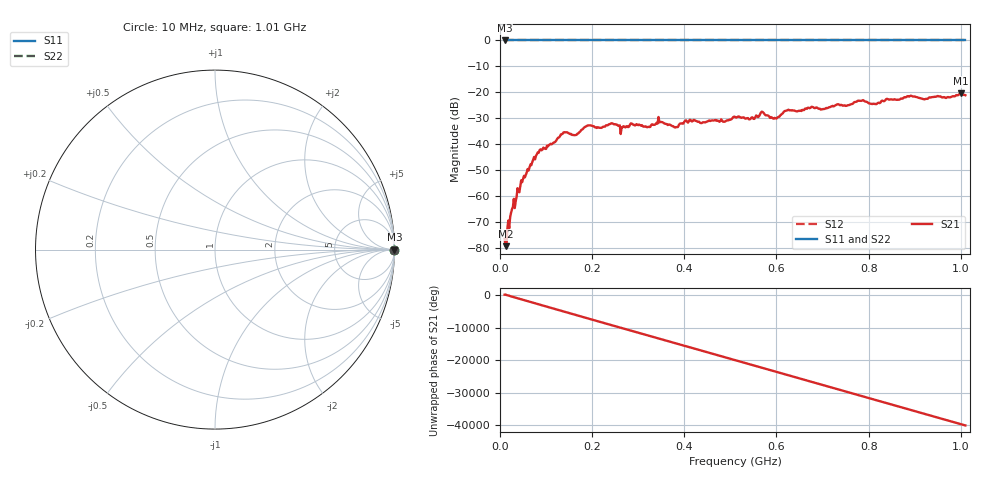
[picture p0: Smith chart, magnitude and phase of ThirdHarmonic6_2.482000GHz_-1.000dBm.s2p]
! 8/17/2025 4:38:27 AM
! C:\ANRITSUVNA\TEMP\TEMP.S2P
! CHANNEL.1
! TR.MEASUREMENT
! RAW.DATA
! RF.CORRECTION.OFF
! AVERAGING.OFF
! IF.BANDWIDTH: 5KHZ
! SWEEPTYPE:  FREQ.SWEEP(Linear)
! Reference Plane Port Info
! PORT:  PORT1  PORT2
! DISTANCE:  0  m  0  m
! TIME:  0  s  0  s
! PHASE.OFFSET:  0  deg.  0  deg.
! LOSS:  0  dB  0  dB
! REF.LOSS:  0  dB  0  dB
! REF.FREQ:  0  Hz  0  Hz
! Power Info
! POWER:  -20  dBm  -20  dBm
! EFF.POWER:  -20  dBm  -20  dBm
! SOURCE.ATTEN:  0  dB  0  dB
! TEST.ATTEN:  0  dB  0  dB
# GHZ S RI R 50.0
! FREQ.GHZ  S11RE  S11IM  S21RE  S21IM  S12RE  S12IM  S22RE  S22IM
!; PortSelection: Port_12
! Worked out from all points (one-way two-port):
!   501 points, 10 MHz to 1.01 GHz, reference 50 ohm
!   highest |S21| = -20.34 dB at 1 GHz (marker M1); lowest = -79.4 dB at 12 MHz (marker M2)
!   lowest |S11| = 0.0 dB at 10 MHz (marker M3)
!   |S11| at or under -10 dB: nowhere
!   |S22| runs from 0.0 to 0.0 dB; largest |S21 - S12| = 1.1
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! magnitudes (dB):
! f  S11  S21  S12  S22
! 10 MHz  0.0  -76.5  0.0  0.0
! 12 MHz  0.0  -79.4  0.0  0.0
! 26 MHz  0.0  -65.2  0.0  0.0
! 42 MHz  0.0  -58.6  0.0  0.0
! 84 MHz  0.0  -43.4  0.0  0.0
! 136 MHz  0.0  -36.0  0.0  0.0
! 162 MHz  0.0  -36.6  0.0  0.0
! 178 MHz  0.0  -34.4  0.0  0.0
! 242 MHz  0.0  -31.9  0.0  0.0
! 322 MHz  0.0  -33.3  0.0  0.0
! 344 MHz  0.0  -29.5  0.0  0.0
! 382 MHz  0.0  -33.4  0.0  0.0
! 404 MHz  0.0  -30.8  0.0  0.0
! 510 MHz  0.0  -29.5  0.0  0.0
! 548 MHz  0.0  -29.7  0.0  0.0
! 570 MHz  0.0  -27.6  0.0  0.0
! 596 MHz  0.0  -29.9  0.0  0.0
! 622 MHz  0.0  -27.0  0.0  0.0
! 678 MHz  0.0  -25.7  0.0  0.0
! 844 MHz  0.0  -22.8  0.0  0.0
! 1 GHz  0.0  -20.3  0.0  0.0
! 1.01 GHz  0.0  -21.2  0.0  0.0
